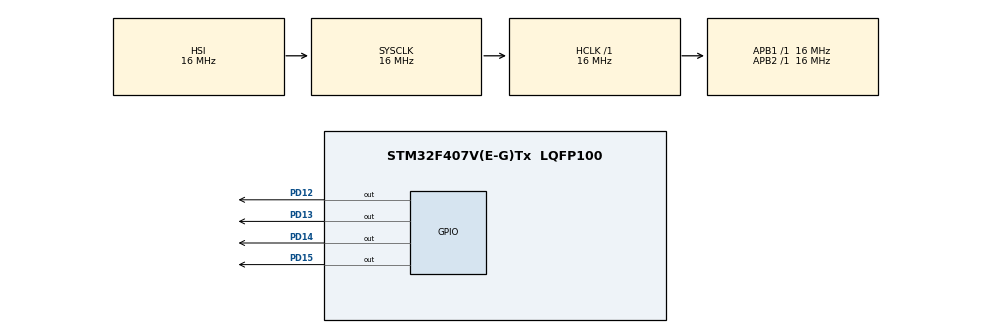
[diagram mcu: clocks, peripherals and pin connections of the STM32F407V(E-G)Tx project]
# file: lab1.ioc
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Mcu.Family=STM32F4
Mcu.Name=STM32F407V(E-G)Tx
Mcu.Package=LQFP100
NVIC.PriorityGroup=NVIC_PRIORITYGROUP_4
PD12.Signal=GPIO_Output
PD13.Signal=GPIO_Output
PD14.Signal=GPIO_Output
PD15.Signal=GPIO_Output
ProjectManager.HeapSize=0x200
ProjectManager.StackSize=0x400
ProjectManager.TargetToolchain=STM32CubeIDE
RCC.AHBFreq_Value=16000000
RCC.APB1Freq_Value=16000000
RCC.APB2Freq_Value=16000000
RCC.CortexFreq_Value=16000000
RCC.HSE_VALUE=25000000
RCC.HSI_VALUE=16000000
RCC.LSE_VALUE=32768
RCC.SYSCLKFreq_VALUE=16000000
RCC.VCOOutputFreq_Value=192000000
board=custom

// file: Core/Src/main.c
/* USER CODE BEGIN Header */
/**
  ******************************************************************************
  * @file           : main.c
  * @brief          : Main program body
  ******************************************************************************
  * @attention
  *
  * <h2><center>&copy; Copyright (c) 2021 STMicroelectronics.
  * All rights reserved.</center></h2>
  *
  * This software component is licensed by ST under BSD 3-Clause license,
  * the "License"; You may not use this file except in compliance with the
  * License. You may obtain a copy of the License at:
  *                        opensource.org/licenses/BSD-3-Clause
  *
  ******************************************************************************
  */
/* USER CODE END Header */
#include "main.h"

void SystemClock_Config(void);
static void MX_GPIO_Init(void);

int main(void)
{

  /* MCU Configuration--------------------------------------------------------*/

  /* Reset of all peripherals, Initializes the Flash interface and the Systick. */
  HAL_Init();

  /* Configure the system clock */
  SystemClock_Config();

  /* Initialize all configured peripherals */
  MX_GPIO_Init();

  /* Infinite loop */
  /* USER CODE BEGIN WHILE */
#define del1 400
#define del2 300
#define del3 500

  while (1)
  {
	//mode-1-----------------
	for(int i=0; i<3; i++)
	{
		HAL_GPIO_WritePin(GPIOD, GPIO_PIN_12, GPIO_PIN_SET);
		HAL_GPIO_WritePin(GPIOD, GPIO_PIN_13, GPIO_PIN_SET);
		HAL_GPIO_WritePin(GPIOD, GPIO_PIN_14, GPIO_PIN_SET);
		HAL_GPIO_WritePin(GPIOD, GPIO_PIN_15, GPIO_PIN_SET);
		HAL_Delay(del1);
		HAL_GPIO_WritePin(GPIOD, GPIO_PIN_12, GPIO_PIN_RESET);
		HAL_GPIO_WritePin(GPIOD, GPIO_PIN_13, GPIO_PIN_RESET);
		HAL_GPIO_WritePin(GPIOD, GPIO_PIN_14, GPIO_PIN_RESET);
		HAL_GPIO_WritePin(GPIOD, GPIO_PIN_15, GPIO_PIN_RESET);
		HAL_Delay(del1);
	};

	//mode-2------------------
	for(int i=0; i<7; i++)
	{
		HAL_GPIO_WritePin(GPIOD, GPIO_PIN_12, GPIO_PIN_SET);
		HAL_GPIO_WritePin(GPIOD, GPIO_PIN_14, GPIO_PIN_RESET);
		HAL_Delay(del2);

		HAL_GPIO_WritePin(GPIOD, GPIO_PIN_13, GPIO_PIN_SET);
		HAL_GPIO_WritePin(GPIOD, GPIO_PIN_15, GPIO_PIN_RESET);
		HAL_Delay(del2);

		HAL_GPIO_WritePin(GPIOD, GPIO_PIN_14, GPIO_PIN_SET);
		HAL_GPIO_WritePin(GPIOD, GPIO_PIN_12, GPIO_PIN_RESET);
		HAL_Delay(del2);

		HAL_GPIO_WritePin(GPIOD, GPIO_PIN_15, GPIO_PIN_SET);
		HAL_GPIO_WritePin(GPIOD, GPIO_PIN_13, GPIO_PIN_RESET);
		HAL_Delay(del2);

	};
	HAL_GPIO_WritePin(GPIOD, GPIO_PIN_14, GPIO_PIN_RESET);
	HAL_GPIO_WritePin(GPIOD, GPIO_PIN_15, GPIO_PIN_RESET);

	//mode-3--------------------
	HAL_Delay(1000);
	HAL_GPIO_WritePin(GPIOD, GPIO_PIN_12, GPIO_PIN_SET);
	HAL_Delay(del3);

	HAL_GPIO_WritePin(GPIOD, GPIO_PIN_13, GPIO_PIN_SET);
	HAL_GPIO_WritePin(GPIOD, GPIO_PIN_12, GPIO_PIN_RESET);
	HAL_Delay(del3);

	HAL_GPIO_WritePin(GPIOD, GPIO_PIN_14, GPIO_PIN_SET);
	HAL_GPIO_WritePin(GPIOD, GPIO_PIN_13, GPIO_PIN_RESET);
	HAL_Delay(del3);

	HAL_GPIO_WritePin(GPIOD, GPIO_PIN_12, GPIO_PIN_SET);
	HAL_Delay(del3);

	HAL_GPIO_WritePin(GPIOD, GPIO_PIN_15, GPIO_PIN_SET);
	HAL_GPIO_WritePin(GPIOD, GPIO_PIN_12, GPIO_PIN_RESET);
	HAL_Delay(del3);

	HAL_GPIO_WritePin(GPIOD, GPIO_PIN_13, GPIO_PIN_SET);
	HAL_GPIO_WritePin(GPIOD, GPIO_PIN_15, GPIO_PIN_RESET);
	HAL_Delay(del3);

	HAL_GPIO_WritePin(GPIOD, GPIO_PIN_12, GPIO_PIN_SET);
	HAL_Delay(del3);

	HAL_GPIO_WritePin(GPIOD, GPIO_PIN_15, GPIO_PIN_SET);
	HAL_GPIO_WritePin(GPIOD, GPIO_PIN_12, GPIO_PIN_RESET);
	HAL_Delay(del3);

	HAL_GPIO_WritePin(GPIOD, GPIO_PIN_12, GPIO_PIN_SET);
	HAL_Delay(del3);

	//mode-2rev-----------------
	HAL_GPIO_WritePin(GPIOD, GPIO_PIN_12, GPIO_PIN_RESET);
	HAL_GPIO_WritePin(GPIOD, GPIO_PIN_13, GPIO_PIN_RESET);
	HAL_GPIO_WritePin(GPIOD, GPIO_PIN_14, GPIO_PIN_RESET);
	HAL_GPIO_WritePin(GPIOD, GPIO_PIN_15, GPIO_PIN_RESET);
	for(int i=0; i<7; i++)
	{
		HAL_GPIO_WritePin(GPIOD, GPIO_PIN_12, GPIO_PIN_SET);
		HAL_GPIO_WritePin(GPIOD, GPIO_PIN_14, GPIO_PIN_RESET);
		HAL_Delay(del2);

		HAL_GPIO_WritePin(GPIOD, GPIO_PIN_15, GPIO_PIN_SET);
		HAL_GPIO_WritePin(GPIOD, GPIO_PIN_13, GPIO_PIN_RESET);
		HAL_Delay(del2);

		HAL_GPIO_WritePin(GPIOD, GPIO_PIN_14, GPIO_PIN_SET);
		HAL_GPIO_WritePin(GPIOD, GPIO_PIN_12, GPIO_PIN_RESET);
		HAL_Delay(del2);

		HAL_GPIO_WritePin(GPIOD, GPIO_PIN_13, GPIO_PIN_SET);
		HAL_GPIO_WritePin(GPIOD, GPIO_PIN_15, GPIO_PIN_RESET);
		HAL_Delay(del2);

	};
	HAL_GPIO_WritePin(GPIOD, GPIO_PIN_14, GPIO_PIN_RESET);
	HAL_GPIO_WritePin(GPIOD, GPIO_PIN_13, GPIO_PIN_RESET);
    /* USER CODE END WHILE */

  }
}

void SystemClock_Config(void)
{
  RCC_OscInitTypeDef RCC_OscInitStruct = {0};
  RCC_ClkInitTypeDef RCC_ClkInitStruct = {0};

  /** Configure the main internal regulator output voltage
  */
  __HAL_RCC_PWR_CLK_ENABLE();
  __HAL_PWR_VOLTAGESCALING_CONFIG(PWR_REGULATOR_VOLTAGE_SCALE1);
  /** Initializes the RCC Oscillators according to the specified parameters
  * in the RCC_OscInitTypeDef structure.
  */
  RCC_OscInitStruct.OscillatorType = RCC_OSCILLATORTYPE_HSI;
  RCC_OscInitStruct.HSIState = RCC_HSI_ON;
  RCC_OscInitStruct.HSICalibrationValue = RCC_HSICALIBRATION_DEFAULT;
  RCC_OscInitStruct.PLL.PLLState = RCC_PLL_NONE;
  if (HAL_RCC_OscConfig(&RCC_OscInitStruct) != HAL_OK)
  {
    Error_Handler();
  }
  /** Initializes the CPU, AHB and APB buses clocks
  */
  RCC_ClkInitStruct.ClockType = RCC_CLOCKTYPE_HCLK|RCC_CLOCKTYPE_SYSCLK
                              |RCC_CLOCKTYPE_PCLK1|RCC_CLOCKTYPE_PCLK2;
  RCC_ClkInitStruct.SYSCLKSource = RCC_SYSCLKSOURCE_HSI;
  RCC_ClkInitStruct.AHBCLKDivider = RCC_SYSCLK_DIV1;
  RCC_ClkInitStruct.APB1CLKDivider = RCC_HCLK_DIV1;
  RCC_ClkInitStruct.APB2CLKDivider = RCC_HCLK_DIV1;

  if (HAL_RCC_ClockConfig(&RCC_ClkInitStruct, FLASH_LATENCY_0) != HAL_OK)
  {
    Error_Handler();
  }
}

static void MX_GPIO_Init(void)
{
  GPIO_InitTypeDef GPIO_InitStruct = {0};

  /* GPIO Ports Clock Enable */
  __HAL_RCC_GPIOD_CLK_ENABLE();

  /*Configure GPIO pin Output Level */
  HAL_GPIO_WritePin(GPIOD, GPIO_PIN_12|GPIO_PIN_13|GPIO_PIN_14|GPIO_PIN_15, GPIO_PIN_RESET);

  /*Configure GPIO pins : PD12 PD13 PD14 PD15 */
  GPIO_InitStruct.Pin = GPIO_PIN_12|GPIO_PIN_13|GPIO_PIN_14|GPIO_PIN_15;
  GPIO_InitStruct.Mode = GPIO_MODE_OUTPUT_PP;
  GPIO_InitStruct.Pull = GPIO_NOPULL;
  GPIO_InitStruct.Speed = GPIO_SPEED_FREQ_LOW;
  HAL_GPIO_Init(GPIOD, &GPIO_InitStruct);

}

void Error_Handler(void)
{
  __disable_irq();
  while (1)
  {
  }
}

/************************ (C) COPYRIGHT STMicroelectronics *****END OF FILE****/
